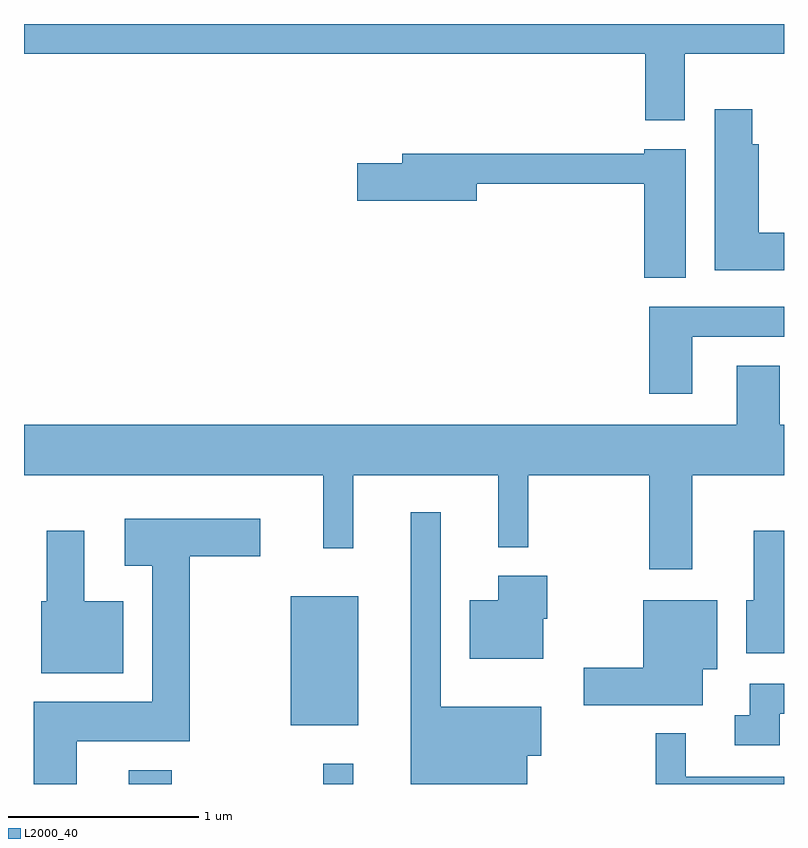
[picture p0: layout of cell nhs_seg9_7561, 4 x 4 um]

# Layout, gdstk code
import gdstk
lib = gdstk.Library(unit=1e-6, precision=1e-09)
def R(c, l, rs):  # rectangles x0, y0, x1, y1
    for r in rs: c.add(gdstk.rectangle(r[:2], r[2:], *l))
def P(c, l, *ps):  # polygons
    for p in ps: c.add(gdstk.Polygon(p, *l))
L2000_40 = (2000, 40)

nhs_seg9_7561 = lib.new_cell('nhs_seg9_7561')
R(nhs_seg9_7561, L2000_40, [(410.161,1972.432,410.389,1972.504), (411.186,1972.432,411.344,1972.538), (411.016,1972.741,411.369,1973.419)])
P(nhs_seg9_7561, L2000_40, [(413.089,1976.276),(413.611,1976.276),(413.611,1976.432),(409.611,1976.432),(409.611,1976.276),(412.881,1976.276),(412.881,1975.926),(413.089,1975.926)],
  [(413.611,1975.334),(413.479,1975.334),(413.479,1975.799),(413.444,1975.799),(413.444,1975.984),(413.246,1975.984),(413.246,1975.136),(413.611,1975.136)],
  [(413.094,1975.774),(412.876,1975.774),(412.876,1975.749),(411.601,1975.749),(411.601,1975.699),(411.366,1975.699),(411.366,1975.501),(411.994,1975.501),(411.994,1975.591),(412.876,1975.591),(412.876,1975.096),(413.094,1975.096)],
  [(413.129,1974.786),(413.611,1974.786),(413.611,1974.944),(412.901,1974.944),(412.901,1974.486),(413.129,1974.486)],
  [(409.611,1974.056),(411.186,1974.056),(411.186,1973.673),(411.344,1973.673),(411.344,1974.056),(412.106,1974.056),(412.106,1973.678),(412.264,1973.678),(412.264,1974.056),(412.901,1974.056),(412.901,1973.561),(413.129,1973.561),(413.129,1974.056),(413.611,1974.056),(413.611,1974.324),(413.589,1974.324),(413.589,1974.634),(413.361,1974.634),(413.361,1974.324),(409.611,1974.324)],
  [(412.259,1972.581),(412.334,1972.581),(412.334,1972.839),(411.804,1972.839),(411.804,1973.863),(411.646,1973.863),(411.646,1972.432),(412.259,1972.432)],
  [(409.889,1972.656),(410.484,1972.656),(410.484,1973.631),(410.854,1973.631),(410.854,1973.829),(410.141,1973.829),(410.141,1973.581),(410.286,1973.581),(410.286,1972.864),(409.661,1972.864),(409.661,1972.432),(409.889,1972.432)],
  [(413.611,1973.764),(413.451,1973.764),(413.451,1973.399),(413.411,1973.399),(413.411,1973.121),(413.611,1973.121)],
  [(410.134,1973.394),(409.929,1973.394),(409.929,1973.764),(409.731,1973.764),(409.731,1973.394),(409.701,1973.394),(409.701,1973.016),(410.134,1973.016)],
  [(412.344,1973.301),(412.364,1973.301),(412.364,1973.529),(412.106,1973.529),(412.106,1973.399),(411.956,1973.399),(411.956,1973.091),(412.344,1973.091)],
  [(413.184,1973.036),(413.259,1973.036),(413.259,1973.399),(412.871,1973.399),(412.871,1973.044),(412.556,1973.044),(412.556,1972.846),(413.184,1972.846)],
  [(413.589,1972.801),(413.611,1972.801),(413.611,1972.959),(413.431,1972.959),(413.431,1972.794),(413.353,1972.794),(413.353,1972.636),(413.589,1972.636)],
  [(413.611,1972.469),(413.094,1972.469),(413.094,1972.698),(412.936,1972.698),(412.936,1972.432),(413.611,1972.432)])

lib.write_gds('nhs_seg9_7561.gds')
